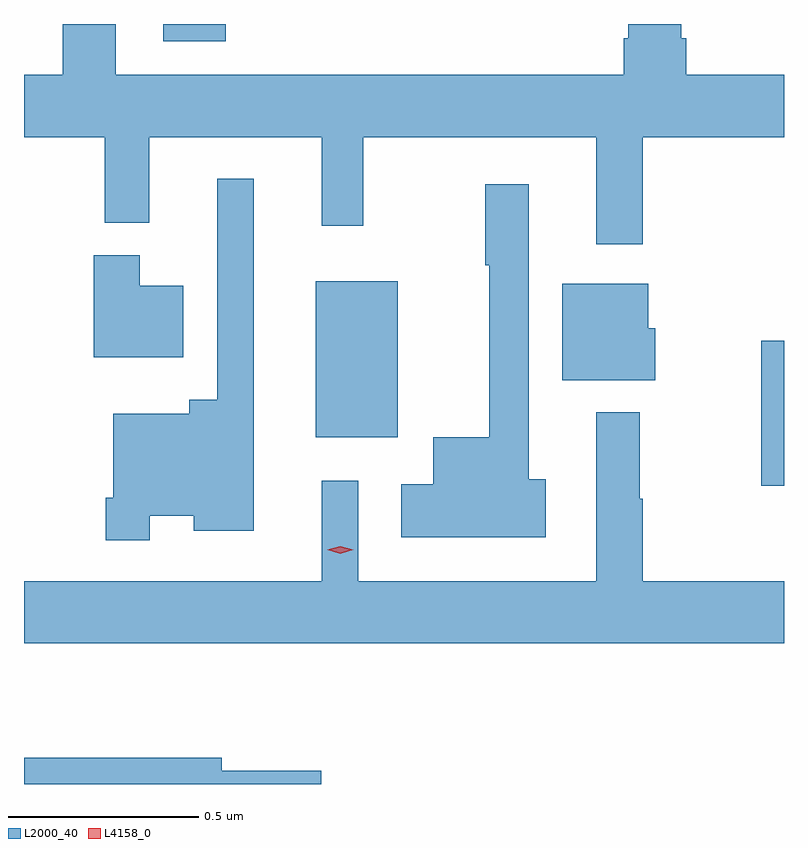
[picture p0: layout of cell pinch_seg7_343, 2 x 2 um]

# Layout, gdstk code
import gdstk
lib = gdstk.Library(unit=1e-6, precision=1e-09)
def R(c, l, rs):  # rectangles x0, y0, x1, y1
    for r in rs: c.add(gdstk.rectangle(r[:2], r[2:], *l))
def P(c, l, *ps):  # polygons
    for p in ps: c.add(gdstk.Polygon(p, *l))
L2000_40 = (2000, 40)
L4158_0 = (4158, 0)

pinch_seg7_343 = lib.new_cell('pinch_seg7_343')
R(pinch_seg7_343, L2000_40, [(469.921,1058.307,469.981,1058.688), (468.749,1058.435,468.964,1058.845), (468.347,1059.477,468.512,1059.522)])
P(pinch_seg7_343, L2000_40, [(468.223,1059.522),(468.083,1059.522),(468.083,1059.388),(467.981,1059.388),(467.981,1059.224),(468.193,1059.224),(468.193,1058.999),(468.311,1058.999),(468.311,1059.224),(468.764,1059.224),(468.764,1058.991),(468.874,1058.991),(468.874,1059.224),(469.487,1059.224),(469.487,1058.943),(469.609,1058.943),(469.609,1059.224),(469.981,1059.224),(469.981,1059.388),(469.724,1059.388),(469.724,1059.484),(469.711,1059.484),(469.711,1059.522),(469.571,1059.522),(469.571,1059.484),(469.559,1059.484),(469.559,1059.388),(468.223,1059.388)],
  [(468.312,1058.228),(468.428,1058.228),(468.428,1058.189),(468.586,1058.189),(468.586,1059.115),(468.489,1059.115),(468.489,1058.533),(468.416,1058.533),(468.416,1058.497),(468.216,1058.497),(468.216,1058.275),(468.196,1058.275),(468.196,1058.163),(468.312,1058.163)],
  [(469.354,1058.324),(469.309,1058.324),(469.309,1059.1),(469.195,1059.1),(469.195,1058.887),(469.205,1058.887),(469.205,1058.434),(469.058,1058.434),(469.058,1058.311),(468.974,1058.311),(468.974,1058.171),(469.354,1058.171)],
  [(468.4,1058.833),(468.286,1058.833),(468.286,1058.914),(468.164,1058.914),(468.164,1058.645),(468.4,1058.645)],
  [(469.642,1058.721),(469.624,1058.721),(469.624,1058.839),(469.397,1058.839),(469.397,1058.585),(469.642,1058.585)],
  [(469.981,1058.056),(469.609,1058.056),(469.609,1058.273),(469.601,1058.273),(469.601,1058.5),(469.487,1058.5),(469.487,1058.056),(468.861,1058.056),(468.861,1058.32),(468.764,1058.32),(468.764,1058.056),(467.981,1058.056),(467.981,1057.892),(469.981,1057.892)],
  [(468.763,1057.557),(468.502,1057.557),(468.502,1057.591),(467.981,1057.591),(467.981,1057.522),(468.763,1057.522)])
P(pinch_seg7_343, L4158_0, [(468.813,1058.128),(468.779,1058.138),(468.778,1058.139),(468.779,1058.139),(468.813,1058.148),(468.848,1058.138),(468.848,1058.138),(468.848,1058.138)])

lib.write_gds('pinch_seg7_343.gds')
